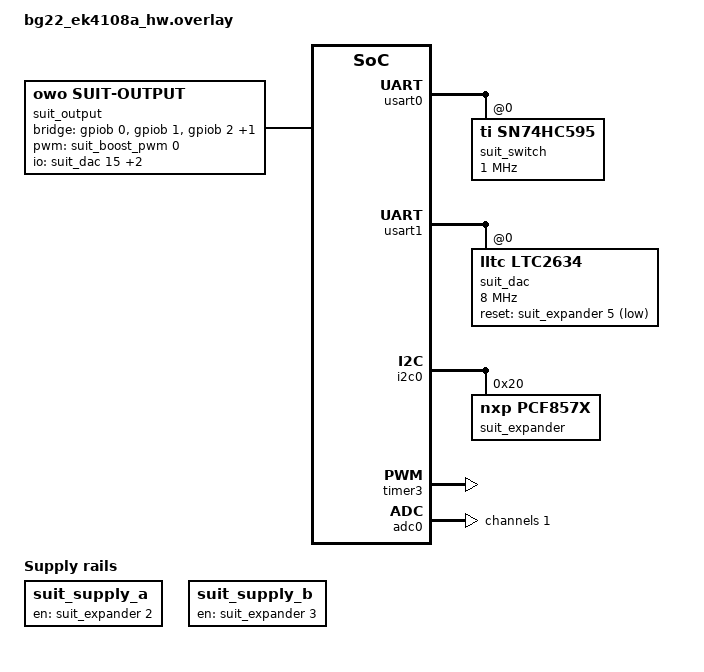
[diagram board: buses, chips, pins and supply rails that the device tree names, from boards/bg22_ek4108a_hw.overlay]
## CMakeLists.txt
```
cmake_minimum_required(VERSION 3.20.0)

# Out-of-tree board definitions (boards/owo/owo_suit: the suit's control unit).
list(APPEND BOARD_ROOT ${CMAKE_CURRENT_LIST_DIR})

# Reusable stimulation-output subsystem (Kconfig + Rust driver crate).
# The EFR32 module provides the open split Bluetooth controller; it replaces
# the board's blob-dependent Silicon Labs HCI driver.
list(APPEND ZEPHYR_EXTRA_MODULES
  ${CMAKE_CURRENT_LIST_DIR}/modules/owo-stim
  ${CMAKE_CURRENT_LIST_DIR}/modules/efr32-radio
)

# `-DOWO_HW=ON` enables the real output stage: devicetree overlay + Kconfig fragment.
# Never set by default; see README ("Bench checklist").
# The board's description of the output stage is boards/<BOARD>_hw.overlay: a custom board only
# needs that file (devicetree nodes for its parts plus one owo,suit-output node), no code changes.
if(OWO_HW)
  set(_hw_overlay ${CMAKE_CURRENT_LIST_DIR}/boards/${BOARD}_hw.overlay)
  if(NOT EXISTS ${_hw_overlay})
    message(FATAL_ERROR "-DOWO_HW=ON needs ${_hw_overlay} describing this board's output stage")
  endif()
  list(APPEND EXTRA_DTC_OVERLAY_FILE ${_hw_overlay})
  list(APPEND EXTRA_CONF_FILE ${CMAKE_CURRENT_LIST_DIR}/owo-suit-hw.conf)
  if(EXISTS ${CMAKE_CURRENT_LIST_DIR}/boards/${BOARD}_hw.conf)
    list(APPEND EXTRA_CONF_FILE ${CMAKE_CURRENT_LIST_DIR}/boards/${BOARD}_hw.conf)
  endif()
endif()

find_package(Zephyr REQUIRED HINTS $ENV{ZEPHYR_BASE})
project(owo_open_fw)

# The OWO product needs link-layer encryption (pairing protects the output stage). Amateur
# operation refuses encryption (47 CFR 97.113(a)(4)), so this firmware never carries it, in any
# configuration (modules/efr32-radio, docs/amateur-radio.md).
if(CONFIG_EFR32_RADIO_AMATEUR)
  message(FATAL_ERROR "CONFIG_EFR32_RADIO_AMATEUR is not allowed in the OWO product firmware")
endif()

# Persistent storage (NVS, ZMS, and the settings subsystem on any backend) needs at least two
# erase pages; the suit's storage partition is one (docs/suit-board.md, "Storage decision").
if(CONFIG_NVS OR CONFIG_ZMS OR CONFIG_SETTINGS)
  dt_nodelabel(_storage NODELABEL storage_partition)
  dt_nodelabel(_flash NODELABEL flash0)
  if(NOT DEFINED _storage OR NOT DEFINED _flash)
    message(FATAL_ERROR "Storage options need a storage_partition on flash0")
  endif()
  dt_reg_size(_storage_size PATH ${_storage})
  dt_prop(_page PATH ${_flash} PROPERTY erase-block-size)
  math(EXPR _pages "${_storage_size} / ${_page}")
  if(_pages LESS 2)
    message(FATAL_ERROR "storage_partition on ${BOARD} is ${_pages} erase page(s) of ${_page} B; "
                        "NVS, ZMS and settings need at least two. See docs/suit-board.md "
                        "(\"Storage decision\") before enabling them.")
  endif()
endif()

rust_cargo_application()

target_sources(app PRIVATE src/serial.c src/feed_job.c)

if(CONFIG_PM)
  target_sources(app PRIVATE src/deep_sleep.c)
endif()

if(CONFIG_OWO_GECKO_APP_PROPERTIES)
  target_sources(app PRIVATE src/gecko_app_properties.c)
endif()

if(CONFIG_OWO_WATCHDOG)
  target_sources(app PRIVATE src/watchdog.c)
endif()

if(CONFIG_CLOCK_EVENT_SCHED_SYNC_CHECK)
  target_sources(app PRIVATE src/clock_sync.c)
endif()

if(CONFIG_OWO_SIM_INJECT)
  message(WARNING "CONFIG_OWO_SIM_INJECT: test-only simulation mailbox; not for hardware")
  target_sources(app PRIVATE src/sim_inject.c)
endif()
```

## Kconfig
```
mainmenu "OWO open firmware (proof of concept)"

config OWO_ADV_INTERVAL_MS
	int "Advertising interval (ms)"
	default 100

config OWO_GECKO_APP_PROPERTIES
	bool "Image descriptor for the Gecko Bootloader"
	default y
	help
	  Put the Silicon Labs ApplicationProperties descriptor in the image and its address in
	  vector slot 13. The Gecko Bootloader and AppLoader in front of the app (0x16000) do not
	  start an image without it (docs/ota.md).

config OWO_GECKO_APP_VERSION
	int "Application version in the image descriptor"
	depends on OWO_GECKO_APP_PROPERTIES
	default 1
	help
	  The stock app carries 1. Kept equal so that neither an update to the open firmware nor
	  a return to stock depends on the bootloader's unknown version policy.

config OWO_SIM_INJECT
	bool "TEST ONLY: command mailbox for the QEMU board simulation"
	help
	  Adds a RAM mailbox (owo_sim_mailbox) that a debugger fills and a 1 ms system work
	  item drains: each entry is handed to the GATT write callback (write_cb) exactly as an
	  ATT write would be after the stack's permission check, or to the disconnect callback.
	  It lets the QEMU board simulation (docs/stim-simulation.md) command stimulation without
	  a Bluetooth connection. Never enable it in a product or hardware build: anything that
	  can write RAM over a debug port could then command output.

config OWO_WATCHDOG
	bool "Short, fixed, locked hardware watchdog (WDOG0)"
	default y
	depends on DT_HAS_SILABS_GECKO_WDOG_ENABLED
	select ZERO_LATENCY_IRQS
	help
	  WDOG0 configured once at boot (src/watchdog.c) and locked: it cannot be stopped or
	  reconfigured afterwards. Fed only by the pump after a supervision pass with the output
	  quiescent (src/wdt.rs); its warning interrupt puts the output stage in its safe state
	  with raw register writes and waits for the reset. docs/watchdog.md.

if OWO_WATCHDOG

config OWO_WATCHDOG_PERSEL
	int "WDOG0 CFG.PERSEL: period of 2^(PERSEL+3)+1 watchdog-clock cycles"
	default 8
	range 0 15
	help
	  Chosen from the longest feed interval measured in QEMU under every workload that can be
	  driven there, with the margin argued in docs/watchdog.md. At 32768 Hz (LFRCO on the
	  suit, LFXO on the kit), 8 is 2049 cycles = 62.53 ms, the stock firmware's value.

config OWO_WATCHDOG_WARNSEL
	int "WDOG0 CFG.WARNSEL: warning at WARNSEL x 25 % of the period"
	default 3
	range 1 3
	help
	  The warning interrupt forces the output safe. Late in the period (75 %) gives the
	  shortest period for a given feed interval, so the reset backstop (for a hang with all
	  interrupts masked) is as short as possible. docs/watchdog.md.

config OWO_WATCHDOG_FREEZE_IN_DEBUG
	bool "Freeze the watchdog while a debugger halts the core (DEBUGRUN = 0)"
	depends on !OWO_STIM_UNVALIDATED_HARDWARE
	help
	  Development builds without a real output stage only. The product keeps the watchdog
	  running in debug halt (DEBUGRUN = 1): a halted core cannot run the warning interrupt, so
	  the reset is the only bound on an output a halt leaves energised.

endif # OWO_WATCHDOG

config OWO_EM2
	bool "Deep sleep (EM2) between radio events and stimulation"
	depends on PM
	depends on !EFR32_RADIO_AMATEUR
	help
	  Let the idle thread enter EM2 whenever nothing needs EM0/EM1: no radio event between its
	  prepare and its end (modules/efr32-radio hal/radio.c), no armed stimulation session and no
	  conversion in flight (src/deep_sleep.c, modules/owo-stim), no clock event closer than the
	  wake-up below (the scheduler clock locks EM2 out while it needs TIMER0), no I2C or UART
	  transfer (their drivers' locks). Without it the product only ever idles in EM1. The
	  amateur identification's radio slot holds no radio reference, so it excludes EM2.
	  docs/radio-tables.md 7.95.

# EM2 exit to a running active clock, what a BURTC wake-up must lead a deadline by
# (docs/radio-tables.md 7.95): the wake-up from EM2 without voltage scaling, 13.22 us (data sheet
# Table 4.10, tEM2_WU); the HFXO start, 5480 FSRCO cycles at 19.804 MHz = 276.71 us, and the
# DPLL lock after it, 11588 HFXO cycles at 38.4 MHz = 301.77 us (7.73, the longest of each), as
# the restore in EMU_EnterEM2() waits for them; the scheduler clock's re-anchor, at most one
# BURTC cycle (30.52 us); and the software from the wake to the active provider's arm. That last
# is the model's [Q]: over 2019 BURTC wake-ups of the product (pairing, GATT and stimulation over
# the link) the compare-to-TIMER0-arm time was at most 666.20 us, less the model's 590.40 us of
# hardware (tEM2_WU, HFXO 5455 cycles, DPLL), 75.80 us, its own re-anchor wait included (so
# counted twice); the model runs the M33's paths up to 35 % short of silicon (7.93), so
# 75.80 / 0.65. Unmeasured on silicon.
OWO_EM2_WAKE_SOFTWARE_NS := 116616
configdefault CLOCK_EVENT_SCHED_DEEP_WAKE_NS
	default $(add,13220,276712,301771,30518,$(OWO_EM2_WAKE_SOFTWARE_NS)) if OWO_EM2

# The system work queue runs only the host's own items in the product: 420 B on silicon (7.86)
# + 36 for an interrupt's basic frame. OWO_SIM_INJECT's 1 ms mailbox item reaches the GATT write
# path from it, 708 B (QEMU, 7.86) + 36.
configdefault SYSTEM_WORKQUEUE_STACK_SIZE
	default 744 if OWO_SIM_INJECT
	default 456

# The controller's RX threads: 408 B and 416 B on silicon (7.86), the largest of every source,
# + 36 each. Ahead of the radio module's own default for the priority thread.
configdefault BT_CTLR_RX_STACK_SIZE
	default 448
configdefault BT_CTLR_RX_PRIO_STACK_SIZE
	default 456

# Module defaults that must precede Zephyr's own (modules/efr32-radio/Kconfig.defaults).
osource "$(ZEPHYR_EFR32_RADIO_MODULE_DIR)/Kconfig.defaults"
source "Kconfig.zephyr"
```

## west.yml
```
# West manifest. `west init -l .` in this directory, then `west update`.
# Only the modules this firmware needs are imported from Zephyr's manifest.
manifest:
  remotes:
    - name: zephyrproject-rtos
      url-base: https://github.com/zephyrproject-rtos
  projects:
    - name: zephyr
      remote: zephyrproject-rtos
      revision: a915b2f12675b48b16d56653ea145dcd8f20cbbf
      import:
        name-allowlist:
          - cmsis_6
          - hal_silabs
          - mbedtls
          - tf-psa-crypto
    - name: zephyr-lang-rust
      remote: zephyrproject-rtos
      revision: 6823b690ed2daf636323cbb8a10447d142752e1f
      path: modules/lang/rust
```

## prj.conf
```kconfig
CONFIG_RUST=y
# The 32 KiB BG22 cannot afford a deferred logger thread beside the combined
# host/controller and safety supervisor. Native QEMU test apps retain their
# own trace transport; hardware faults use the watchdog/reset-safe-off path.
CONFIG_LOG=n
# Measured in build/ram-probe with the full peripheral/MITM/dynamic-GATT
# profile. Stack sentinels and initialized-stack watermarks remain enabled so
# hardware qualification can reject an insufficient budget. The retained map
# is checked with scripts/check-hardware-ram.sh, which holds a 1,760-byte
# reserve below the BG22's 32,760-byte usable RAM region.
# Main: bt_enable and the output supervisor (FP: 108-byte frame); 1420 B peak in the QEMU
# product runs with the 23 fault scenarios (7.86; 1384 B in the paired stimulation run with EM2
# on, 7.96). 1420 + 108.
CONFIG_MAIN_STACK_SIZE=1528
# The controller runs in threads (modules/efr32-radio/hal/ll_threads.c), not on the interrupt
# stack; it peaked at 536 B (QEMU product runs, the watchdog's warning interrupt included; 540 B
# on silicon). Not cut: its worst case is the deepest nesting of interrupt priorities, which no
# run measures.
CONFIG_ISR_STACK_SIZE=1024
CONFIG_STACK_SENTINEL=y
CONFIG_INIT_STACKS=y
CONFIG_STACK_USAGE=y
# Thread stacks: each at least its measured worst-case high-water mark (CONFIG_INIT_STACKS) plus
# one exception frame, rounded up to the 8-byte stack alignment (docs/radio-tables.md 7.86).
# Frame: only the main thread executes FP instructions (the IADC driver's start_read, reached
# only from the output supervisor), so an interrupt pushes the 104-byte extended frame (+4 of
# alignment) only there; every other thread keeps CONTROL.FPCA clear and takes the 32-byte basic
# frame (+4). Peaks: QEMU product runs (owo_suit -DOWO_HW=ON, sim/product-qemu.conf, suit board:
# LE Secure Connections pairing, 870 s of encrypted GATT and stimulation commanded over the link;
# 23 stimulation fault scenarios) and silicon held encrypted connections of the radio-port
# pairing profile with the laptop (7.84, 7.86), the largest of all sources.
#
# The long work queue runs only the host's P-256 key generation and DH key (GATT caching is
# off); its deepest point is p256-m's field multiply in both images: 732 B in the product (QEMU,
# every pairing), 968 B in the radio-port image on silicon, whose LTO inlining differs. 968 + 36.
CONFIG_BT_LONG_WQ_STACK_SIZE=1008
# Link-layer threads, silicon peaks of held encrypted connections (7.84; the QEMU product run's
# are lower: ULL 532, LLL 656, completion 604). ULL 648 + 36 = 684, LLL 748 + 36; the
# completion job's 768 covers 664 + 36.
CONFIG_EFR32_RADIO_ULL_STACK_SIZE=688
CONFIG_EFR32_RADIO_LLL_STACK_SIZE=784
# Radio launch jobs: TX 440 B (silicon, encrypted, 7.86; 7.84: 428) + 36, RX 444 B (QEMU
# product with the EM2 wake-up budget, 7.95: the receive window's timeout then waits on TIMER0,
# a deeper path; 372 without it, silicon 368) + 36.
CONFIG_EFR32_RADIO_TX_LAUNCH_STACK_SIZE=480
CONFIG_EFR32_RADIO_RX_LAUNCH_STACK_SIZE=480
# Kernel and host threads, by the same rule (7.86, 7.96): idle 348 (QEMU; 332 with EM2 entry
# and exit) + 36; BT RX 1096 (QEMU, paired stimulation with EM2 on) + 36; BT TX processor 432
# (silicon) + 36. The system work queue and the controller RX threads (hidden symbols) are set in
# the root Kconfig.
CONFIG_IDLE_STACK_SIZE=384
CONFIG_BT_RX_STACK_SIZE=1136
CONFIG_BT_TX_PROCESSOR_STACK_SIZE=472
# Word-wise memset/memcpy (+96 B flash). The external output parts keep their state across an MCU
# reset until the first init level re-asserts the safe levels (owo_suit_early_safe_off); the
# byte-wise routines made the C runtime's .bss/.data initialisation before that take 6.2 ms in
# the QEMU model (4.44 ms .bss, 1.79 ms .data), the word-wise ones 1.7 ms: with the stock
# bootloader's 2.6 ms, the boost supply is off 4.65 ms after a reset instead of 9.63 ms
# (docs/stim-simulation.md).
CONFIG_MINIMAL_LIBC_OPTIMIZE_STRING_FOR_SIZE=n

CONFIG_BT=y
CONFIG_BT_PERIPHERAL=y
# "OWO" and the twelve-digit serial, set at start-up (src/ble.rs); the Kconfig name is replaced.
CONFIG_BT_DEVICE_NAME="OWO"
CONFIG_BT_DEVICE_NAME_DYNAMIC=y
CONFIG_BT_DEVICE_NAME_MAX=15
CONFIG_BT_SMP=y
# Allowed pairing, stated in full rather than left to Zephyr's defaults: LE Secure
# Connections passkey entry with the unit's fixed passkey (src/ble.rs app_passkey) only,
# reaching security level 4. No legacy pairing, no Just Works, no OOB, no re-pairing of a
# bonded peer without authentication, full-length keys.
CONFIG_BT_SMP_SC_ONLY=y
CONFIG_BT_SMP_SC_PAIR_ONLY=y
CONFIG_BT_SMP_ENFORCE_MITM=y
CONFIG_BT_APP_PASSKEY=y
CONFIG_BT_SMP_OOB_LEGACY_PAIR_ONLY=n
CONFIG_BT_SMP_ALLOW_UNAUTH_OVERWRITE=n
CONFIG_BT_SMP_APP_PAIRING_ACCEPT=n
CONFIG_BT_PASSKEY_KEYPRESS=n
CONFIG_BT_SMP_MIN_ENC_KEY_SIZE=16
CONFIG_BT_BONDABLE=y
CONFIG_BT_SETTINGS=n
CONFIG_BT_MAX_CONN=1
# One connection and the product's short control writes do not require the
# generic multi-connection queue depths. These are Zephyr's legal minima:
# L2CAP itself requires two TX buffers and HCI requires two event buffers.
CONFIG_BT_BUF_EVT_RX_COUNT=2
CONFIG_BT_BUF_EVT_DISCARDABLE_COUNT=1
CONFIG_BT_BUF_ACL_TX_COUNT=1
CONFIG_BT_L2CAP_TX_BUF_COUNT=2
CONFIG_BT_L2CAP_TX_FRAG_COUNT=1
CONFIG_BT_ATT_TX_COUNT=1
# The GATT table is built at run time from Rust
CONFIG_BT_GATT_DYNAMIC_DB=y
CONFIG_BT_DIS=y
CONFIG_BT_DIS_MANUF_NAME=y
CONFIG_BT_DIS_MANUF_NAME_STR="OWO"
CONFIG_BT_BAS=y

# Tickless: no periodic kernel tick while idle
CONFIG_TICKLESS_KERNEL=y

# System time, kernel timeouts and radio wake-ups come from the scheduler clock: BURTC
# across deep sleep, TIMER0 (EM01GRPACLK) while the CPU runs (boards/*.overlay). Its
# 64-bit cycle count also backs the timing API used for output-stage timestamps.
CONFIG_CLOCK_EVENT_SYSTEM_TIMER=y
CONFIG_SILABS_BURTC_CLOCK_EVENT=y
CONFIG_COUNTER_SILABS_BURTC=n
CONFIG_COUNTER=y
CONFIG_COUNTER_SILABS_TIMER_CLOCK_EVENT=y
# The RTCC Counter driver is unused and does not build for this SoC.
CONFIG_COUNTER_GECKO_STIMER=n
CONFIG_TIMING_SYS_CLOCK=y
# Jobs: admitted timed and armed jobs (the watchdog feed: src/feed_job.c), timed kernel
# calls attributed to the running job (docs/zephyr-dual-clock-scheduler.md). No time slicing.
CONFIG_SCHED_DEADLINE_ADMISSION=y
CONFIG_SCHED_DEADLINE_JOBS=y
CONFIG_TIMESLICING=n
# Scheduler clock clients: kernel timeouts, the radio's three (hal/cntr.c), one per timed job
# (the watchdog feed, CONFIG_SCHED_DEADLINE_TIMED_JOBS) and the clock's own two self-checks.
CONFIG_CLOCK_EVENT_SCHED_CLIENTS=7
# The scheduler clock checks its providers against each other; a failure is the safe shutdown
# of src/clock_sync.c (docs/zephyr-dual-clock-scheduler.md, "Clock sync").
CONFIG_CLOCK_EVENT_SCHED_SYNC_CHECK=y
# Power manager (EM1/EM2 sleep); the scheduler clock locks out EM2+ only while it
# needs TIMER0 for a pending deadline.
CONFIG_PM=y
# EM2 between radio events and stimulation sessions (Kconfig, docs/radio-tables.md 7.95).
CONFIG_OWO_EM2=y

# Hardware watchdog: WDOG0 owned by src/watchdog.c (CONFIG_OWO_WATCHDOG, on by default), fed
# by the pump (src/wdt.rs); Zephyr's watchdog driver is not used (docs/watchdog.md).

# Output stage. Off = log-only dry run. See modules/owo-stim/Kconfig.
CONFIG_OWO_STIM=y
# CONFIG_OWO_STIM_UNVALIDATED_HARDWARE is NOT set: no output until you opt in (bench only).
# The lower link layer runs in meta-IRQ threads, not interrupts (modules/efr32-radio/hal/ll_threads.c):
# the LLL and radio jobs at the first priority, the ULL worker at the second.
CONFIG_NUM_METAIRQ_PRIORITIES=2
# BT_CTLR_ZLI is only settable with the controller's advanced options visible.
CONFIG_BT_CTLR_ADVANCED_FEATURES=y
CONFIG_BT_CTLR_ZLI=n
# Drive the radio registers (the module default is a register-free stub whose HAL asserts at the
# first data channel, EFR32_RADIO_AIR_TODO in hal/radio.c, so a product could advertise but never
# hold a connection). Hardware and QEMU builds alike; QEMU-only timing stays in
# sim/product-qemu.conf.
CONFIG_EFR32_RADIO_STUB_REGISTERS=n

# Flash/RAM budget (measured 2026-10-31 against the full default build, 192.7 KB flash;
# together 143.2 KB). Link-time optimisation: -25.9 KB.
CONFIG_LTO=y
CONFIG_ISR_TABLES_LOCAL_DECLARATION=y
# No console on the suit: printk, the boot banner and the complete printf engine go
# (-17.4 KB). Missed-deadline and safe-shutdown reports are then not printed.
CONFIG_PRINTK=n
CONFIG_BOOT_BANNER=n
CONFIG_CBPRINTF_NANO=y
# One connection and no stored bonds: no controller address resolution or filter accept
# list is needed (-5.4 KB).
CONFIG_BT_CTLR_PRIVACY=n
CONFIG_BT_CTLR_FILTER_ACCEPT_LIST=n
# A fault resets the unit; the register dump has nowhere to go (-2.3 KB).
CONFIG_EXCEPTION_DEBUG=n
CONFIG_FAULT_DUMP=0
# Clients rediscover the small GATT table on each connection (-2.0 KB).
CONFIG_BT_GATT_CACHING=n
# No vendor-specific HCI commands are used (-0.8 KB).
CONFIG_BT_HCI_VS=n
# AES runs on the RADIOAES accelerator (modules/efr32-radio/crypto, docs/crypto.md): the
# controller's session-key ECB and link-layer CCM call it directly, the host's AES-ECB
# (bt_encrypt_le) and AES-CMAC (SMP f4/f5/f6/g2/h6) reach it through PSA Crypto's driver
# dispatch. No software AES is built and nothing allocates: no mbedtls heap, libc arena 0.
# P-256 stays in software (p256-m): the accelerator's public-key engine is not publicly
# documented.
#
# PSA key slots (104 B each). The PSA users left import or generate one key, use it and destroy
# it before returning, never nesting: host ECC (generate_pub_key, generate_dh_key,
# bt_pub_key_is_valid) on the BT long work queue and SMP's AES-CMAC (bt_crypto_psa.c) and
# bt_encrypt_le on the BT RX thread or the long work queue (f5/f6 in the DHKey callback). So at
# most one key per thread, two threads: two slots. Measured in QEMU with a slot counter in
# tf-psa-crypto (2026-10-31, owo_suit with sim/product-qemu.conf, bt_enable, LE Secure
# Connections passkey pairing and 150 s of encrypted GATT): one live slot at most. Exhaustion
# fails the import, it does not corrupt memory: a failed pairing (-208 B against four slots).
CONFIG_MBEDTLS_PSA_KEY_SLOT_COUNT=2
```

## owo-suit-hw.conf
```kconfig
# Applied by -DOWO_HW=ON. Drives the real output stage. UNVALIDATED on hardware.
CONFIG_OWO_STIM_UNVALIDATED_HARDWARE=y
CONFIG_GPIO=y
CONFIG_I2C=y
# Expander transfers end within this, also with the bus dead (SDA held low, no acknowledge). With
# the bus dead a pump pass makes at most 22: 6 per faulted pulse (supplies on, off again after the
# failure, off on the fault, 2 each) for up to CONFIG_OWO_STIM_FAULT_LOCKOUT = 3 pulses, the
# stop-input read, the idle safe-off (2) and one from the system work queue waited out first.
# 22 x 1 ms stays inside the 22.4 ms between the longest legitimate feed interval and the
# watchdog warning (docs/watchdog.md). The longest transfer, 3 bytes, is 29 bit times (0.29 ms)
# at 100 kHz.
CONFIG_I2C_SILABS_TIMEOUT=1
CONFIG_SPI=y
CONFIG_PWM=y
CONFIG_ADC=y
CONFIG_DAC=y
CONFIG_PINCTRL=y
CONFIG_REGULATOR=y
# The output stage reads two IADC channels, the sense input (channel 0) and the battery divider
# (channel 1) in boards/*_hw.overlay; modules/owo-stim/shim/owo_shim.c asserts they fit. The
# driver's other 14 channel entries would be 112 B of RAM.
CONFIG_ADC_SILABS_IADC_CHANNELS=2
```

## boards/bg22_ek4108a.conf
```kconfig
# Silicon Labs OTA: the boot-mode request is Zephyr's retention API (boards/owo_product.dtsi).
CONFIG_RETAINED_MEM=y
CONFIG_RETENTION=y
CONFIG_RETENTION_BOOT_MODE=y
CONFIG_REBOOT=y
# Link into the code partition of the overlay (0x16000, behind the Gecko Bootloader)
CONFIG_USE_DT_CODE_PARTITION=y
```

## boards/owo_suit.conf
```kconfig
# Silicon Labs OTA: the boot-mode request is Zephyr's retention API (boards/owo_product.dtsi).
CONFIG_RETAINED_MEM=y
CONFIG_RETENTION=y
CONFIG_RETENTION_BOOT_MODE=y
CONFIG_REBOOT=y
# Link into the board's code partition (0x16000, behind the Gecko Bootloader and AppLoader)
CONFIG_USE_DT_CODE_PARTITION=y
```

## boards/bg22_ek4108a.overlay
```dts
/*
 * The stand-in explorer kit. Board-level facts that make the Silicon Labs OTA update keep working
 * with this firmware (docs/ota.md): here the flash map the suit's bootloader expects; the RAM word
 * the bootloader reads, and the rest of what the product needs, are in owo_product.dtsi.
 */
#include "owo_product.dtsi"

/*
 * Flash map. The stock images (GBL, ERASEPROG tag) are written at 0x16000, after the
 * Silicon Labs first/second-stage bootloaders (docs: owo-suit-firmware-analysis.md section 1).
 * The explorer kit's own map (MCUboot at 0x0, slot0 at 0xC000) is replaced by that layout.
 */
&flash0 {
	partitions {
		/delete-node/ partition@0;
		/delete-node/ partition@c000;
		/delete-node/ partition@44000;

		/* Gecko Bootloader (first + second stage), not ours to touch. */
		boot_partition: partition@0 {
			compatible = "zephyr,mapped-partition";
			reg = <0x00000000 DT_SIZE_K(88)>;
			label = "gecko-bootloader";
			read-only;
		};

		/* The application: where the stock GBL puts it, up to the storage partition. */
		slot0_partition: partition@16000 {
			compatible = "zephyr,mapped-partition";
			reg = <0x00016000 DT_SIZE_K(408)>;
			label = "image-0";
		};
	};
};

/* The kit's TIMER0 PWM (LED) gives way to the scheduler clock (owo_product.dtsi). */
&timer0_pwm {
	status = "disabled";
};

/*
 * The kit LED (PA4) moves to the 16-bit TIMER1, CC0. Divided by 32 from EM01GRPACLK
 * (76.8 MHz), it keeps the kit's 20 ms period within 16 bits.
 */
&pinctrl {
	kit_led_pwm: kit_led_pwm {
		group0 {
			pins = <TIMER1_CC0_PA4>;
			drive-push-pull;
			output-high;
		};
	};
};

&timer1 {
	status = "okay";
	clock-div = <32>;

	timer1_pwm: pwm {
		status = "okay";
		pinctrl-0 = <&kit_led_pwm>;
		pinctrl-names = "default";
	};
};

&pwm_led0 {
	pwms = <&timer1_pwm 0 PWM_MSEC(20) PWM_POLARITY_NORMAL>;
};
```

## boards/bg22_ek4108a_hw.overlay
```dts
/*
 * The OWO suit's output stage, expressed as Zephyr devicetree on the stand-in EFR32BG22
 * explorer kit. Pins, buses and addresses come from reverse engineering firmware 7.9.07
 * (docs/stock-stim-path.md); nothing here is confirmed on hardware, and the suit's real
 * board needs its own board definition (clocks, DCDC, flash layout) which this is not.
 */
#include <zephyr/dt-bindings/gpio/gpio.h>
#include <zephyr/dt-bindings/pwm/pwm.h>
#include <zephyr/dt-bindings/adc/adc.h>
#include <zephyr/dt-bindings/adc/silabs-adc.h>
#include <zephyr/dt-bindings/spi/spi.h>
#include <zephyr/dt-bindings/pinctrl/silabs/xg22-pinctrl.h>

&pinctrl {
	suit_sw_spi: suit_sw_spi {
		group0 {
			pins = <USART0_TX_PC0>, <USART0_CLK_PC2>;
			drive-push-pull;
			output-low;
		};
		group1 {
			pins = <USART0_RX_PC1>;
			input-enable;
			silabs,input-filter;
		};
	};

	suit_dac_spi: suit_dac_spi {
		group0 {
			pins = <USART1_TX_PA0>, <USART1_CLK_PA8>;
			drive-push-pull;
			output-low;
		};
		group1 {
			pins = <USART1_RX_PA4>;
			input-enable;
			silabs,input-filter;
		};
	};

	suit_i2c: suit_i2c {
		group0 {
			pins = <I2C0_SCL_PA7>, <I2C0_SDA_PB4>;
			bias-pull-up;
			drive-open-drain;
		};
	};

	suit_boost: suit_boost {
		group0 {
			pins = <TIMER3_CC0_PC7>;
			drive-push-pull;
			output-low;
		};
	};

	suit_sense: suit_sense {
		group0 {
			/* PD2 (sense) on the CD even bus, PD3 (battery) on the CD odd bus. */
			silabs,analog-bus = <ABUS_CDEVEN0_IADC0>, <ABUS_CDODD0_IADC0>;
		};
	};
};

/*
 * Channel switch: a 32-bit shift-register chain as a stock GPIO controller. The chip select is the
 * chain's latch (PC3, idle high = latched), which is exactly how ti,sn74hc595 uses it. The
 * chain's output is wired back to MISO, so the driver verifies each write by read-back.
 */
&usart0 {
	compatible = "silabs,usart-spi";
	pinctrl-0 = <&suit_sw_spi>;
	pinctrl-names = "default";
	#address-cells = <1>;
	#size-cells = <0>;
	cs-gpios = <&gpioc 3 GPIO_ACTIVE_LOW>;
	status = "okay";

	suit_switch: switch@0 {
		compatible = "ti,sn74hc595";
		reg = <0>;
		spi-max-frequency = <1000000>;
		gpio-controller;
		#gpio-cells = <2>;
		ngpios = <32>;
		verify-readback;
	};
};

/* Amplitude DAC: USART1 as SPI mode 0, CS = PA5, /CLR on the expander. */
&usart1 {
	compatible = "silabs,usart-spi";
	pinctrl-0 = <&suit_dac_spi>;
	pinctrl-names = "default";
	#address-cells = <1>;
	#size-cells = <0>;
	cs-gpios = <&gpioa 5 GPIO_ACTIVE_LOW>;
	status = "okay";

	suit_dac: dac@0 {
		compatible = "lltc,ltc2634";
		reg = <0>;
		spi-max-frequency = <8000000>;
		#io-channel-cells = <1>;
		reset-gpios = <&suit_expander 5 GPIO_ACTIVE_LOW>;
	};
};

/* PCF8575-class expander (8-bit write address 0x40 => 7-bit 0x20). */
&i2c0 {
	pinctrl-0 = <&suit_i2c>;
	pinctrl-names = "default";
	status = "okay";

	suit_expander: gpio@20 {
		compatible = "nxp,pcf857x";
		reg = <0x20>;
		gpio-controller;
		#gpio-cells = <2>;
		ngpios = <16>;
	};
};

/*
 * Boost converter PWM on the 16-bit TIMER3: of the TIMERs left free by the scheduler clock
 * (TIMER0) and the kit LED (TIMER1), only TIMER3 routes to port C (xg22-pinctrl.h).
 */
&timer3 {
	status = "okay";

	suit_boost_pwm: pwm {
		status = "okay";
		pinctrl-0 = <&suit_boost>;
		pinctrl-names = "default";
	};
};

&adc0 {
	pinctrl-0 = <&suit_sense>;
	pinctrl-names = "default";
	#address-cells = <1>;
	#size-cells = <0>;
	status = "okay";

	/* The explorer kit already has channel@0 (PB0); point it at the suit's sense input PD2.
	 * Gain 1, VDD reference (3.3 V), 12 bit, like the stock firmware. */
	channel@0 {
		zephyr,input-positive = <IADC_INPUT_PD2>;
	};

	/* The suit's battery divider on PD3, as boards/owo_suit_hw.overlay. */
	channel@1 {
		reg = <1>;
		zephyr,acquisition-time = <ADC_ACQ_TIME_DEFAULT>;
		zephyr,gain = "ADC_GAIN_1_2";
		zephyr,input-positive = <IADC_INPUT_PD3>;
		zephyr,reference = "ADC_REF_INTERNAL";
		zephyr,resolution = <12>;
		zephyr,vref-mv = <1210>;
	};
};

/* Supply enables behind the expander (P2, P3): plain regulators. */
/ {
	suit_supply_a: suit-supply-a {
		compatible = "regulator-fixed";
		regulator-name = "suit-supply-a";
		enable-gpios = <&suit_expander 2 GPIO_ACTIVE_HIGH>;
	};

	suit_supply_b: suit-supply-b {
		compatible = "regulator-fixed";
		regulator-name = "suit-supply-b";
		enable-gpios = <&suit_expander 3 GPIO_ACTIVE_HIGH>;
	};

	suit_output: suit-output {
		compatible = "owo,suit-output";
		/* PB0..PB3: high side A, high side B, low side A, low side B */
		bridge-gpios = <&gpiob 0 GPIO_ACTIVE_HIGH>, <&gpiob 1 GPIO_ACTIVE_HIGH>,
			       <&gpiob 2 GPIO_ACTIVE_HIGH>, <&gpiob 3 GPIO_ACTIVE_HIGH>;
		supplies = <&suit_supply_a>, <&suit_supply_b>;
		switch = <&suit_switch>;
		/* One word per protocol channel 0..10, in the stock slot order (owo_suit_hw.overlay). */
		switch-routes = <0x00800080 0x01000100 0x00020002 0x00080008 0x00100010 0x00400040
				 0x00010001 0x00200020 0x00040004 0x02000200 0x04000400>;
		pwms = <&suit_boost_pwm 0 PWM_HZ(4000) PWM_POLARITY_NORMAL>;
		boost-duty-percent = <50>;
		io-channels = <&suit_dac 15>, <&adc0 0>, <&adc0 1>;
		io-channel-names = "amplitude", "sense", "battery";
		battery-divider = <133 33>;
		amplitude-resolution = <12>;
		amplitude-scale = <0x12FED 0x9C4>;
		max-level = <126>;
		sense-uv-per-level = <19150>;
		sense-offset = <3>;
	};
};
```

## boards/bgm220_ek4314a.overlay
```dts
/*
 * The BGM220 explorer kit (BRD4314A): the BRD4108A kit's layout with the BGM220P module, so the
 * same product overlay.
 */
#include "bg22_ek4108a.overlay"
```

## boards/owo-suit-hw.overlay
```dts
/*
 * The OWO suit's output stage, expressed as Zephyr devicetree on the stand-in EFR32BG22
 * explorer kit. Pins, buses and addresses come from reverse engineering firmware 7.9.07
 * (docs/stock-stim-path.md); nothing here is confirmed on hardware, and the suit's real
 * board needs its own board definition (clocks, DCDC, flash layout) which this is not.
 */
#include <zephyr/dt-bindings/gpio/gpio.h>
#include <zephyr/dt-bindings/pwm/pwm.h>
#include <zephyr/dt-bindings/adc/adc.h>
#include <zephyr/dt-bindings/adc/silabs-adc.h>
#include <zephyr/dt-bindings/spi/spi.h>
#include <zephyr/dt-bindings/pinctrl/silabs/xg22-pinctrl.h>

&pinctrl {
	suit_sw_spi: suit_sw_spi {
		group0 {
			pins = <USART0_TX_PC0>, <USART0_CLK_PC2>;
			drive-push-pull;
			output-low;
		};
		group1 {
			pins = <USART0_RX_PC1>;
			input-enable;
			silabs,input-filter;
		};
	};

	suit_dac_spi: suit_dac_spi {
		group0 {
			pins = <USART1_TX_PA0>, <USART1_CLK_PA8>;
			drive-push-pull;
			output-low;
		};
		group1 {
			pins = <USART1_RX_PA4>;
			input-enable;
			silabs,input-filter;
		};
	};

	suit_i2c: suit_i2c {
		group0 {
			pins = <I2C0_SCL_PA7>, <I2C0_SDA_PB4>;
			bias-pull-up;
			drive-open-drain;
		};
	};

	suit_boost: suit_boost {
		group0 {
			pins = <TIMER1_CC0_PC7>;
			drive-push-pull;
			output-low;
		};
	};

	suit_sense: suit_sense {
		group0 {
			silabs,analog-bus = <ABUS_BODD0_IADC0>;
		};
	};
};

/* Channel switch: USART0 as SPI mode 0, no chip select (the latch is a GPIO below). */
&usart0 {
	compatible = "silabs,usart-spi";
	pinctrl-0 = <&suit_sw_spi>;
	pinctrl-names = "default";
	#address-cells = <1>;
	#size-cells = <0>;
	status = "okay";

	suit_switch: switch@0 {
		compatible = "owo,switch-chain";
		reg = <0>;
		spi-max-frequency = <1000000>;
	};
};

/* Amplitude DAC: USART1 as SPI mode 0, CS = PA5, /CLR on the expander. */
&usart1 {
	compatible = "silabs,usart-spi";
	pinctrl-0 = <&suit_dac_spi>;
	pinctrl-names = "default";
	#address-cells = <1>;
	#size-cells = <0>;
	cs-gpios = <&gpioa 5 GPIO_ACTIVE_LOW>;
	status = "okay";

	suit_dac: dac@0 {
		compatible = "lltc,ltc2634";
		reg = <0>;
		spi-max-frequency = <8000000>;
		#io-channel-cells = <1>;
		reset-gpios = <&suit_expander 5 GPIO_ACTIVE_LOW>;
	};
};

/* PCF8575-class expander (8-bit write address 0x40 => 7-bit 0x20). */
&i2c0 {
	pinctrl-0 = <&suit_i2c>;
	pinctrl-names = "default";
	status = "okay";

	suit_expander: gpio@20 {
		compatible = "nxp,pcf857x";
		reg = <0x20>;
		gpio-controller;
		#gpio-cells = <2>;
		ngpios = <16>;
	};
};

&timer1 {
	status = "okay";

	suit_boost_pwm: pwm {
		status = "okay";
		pinctrl-0 = <&suit_boost>;
		pinctrl-names = "default";
	};
};

&adc0 {
	pinctrl-0 = <&suit_sense>;
	pinctrl-names = "default";
	#address-cells = <1>;
	#size-cells = <0>;
	status = "okay";

	/* The explorer kit already has channel@0 (PB0); point it at the suit's PD3. */
	channel@0 {
		zephyr,input-positive = <IADC_INPUT_PD3>;
	};
};

/ {
	suit_output: suit-output {
		compatible = "owo,suit-output";
		/* PB0..PB3: high side A, high side B, low side A, low side B */
		bridge-gpios = <&gpiob 0 GPIO_ACTIVE_HIGH>, <&gpiob 1 GPIO_ACTIVE_HIGH>,
			       <&gpiob 2 GPIO_ACTIVE_HIGH>, <&gpiob 3 GPIO_ACTIVE_HIGH>;
		latch-gpios = <&gpioc 3 GPIO_ACTIVE_HIGH>;
		/* Expander P2, P3 */
		supply-gpios = <&suit_expander 2 GPIO_ACTIVE_HIGH>, <&suit_expander 3 GPIO_ACTIVE_HIGH>;
		switch = <&suit_switch>;
		dac = <&suit_dac>;
		pwms = <&suit_boost_pwm 0 PWM_HZ(4000) PWM_POLARITY_NORMAL>;
		io-channels = <&adc0 0>;
	};
};
```

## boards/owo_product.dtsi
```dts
/*
 * What the product needs from any EFR32BG22 board it runs on, included by each board's overlay
 * (boards/<board>.overlay). Nothing here is code: the Silicon Labs OTA hand-over word in RAM
 * (docs/ota.md), the open Bluetooth controller, the scheduler clock and the watchdog.
 */

/*
 * Hardware watchdog: configured once at boot and locked by src/watchdog.c (raw registers, not
 * Zephyr's driver), clocked by the devicetree's WDOG0 branch; fed by the pump (src/wdt.rs).
 * docs/watchdog.md.
 */
&wdog0 {
	status = "okay";
};

/*
 * Use Zephyr's standard split-controller HCI device with the open EFR32
 * lower layer, not the board's Silicon Labs blob controller.  The vendor HCI
 * node would otherwise remain chosen without a linked driver.
 */
&bt_hci_silabs {
	status = "disabled";
};

&radio {
	bt_hci_efr32: bt_hci_efr32 {
		compatible = "zephyr,bt-hci-ll-sw-split";
		status = "okay";
	};
};

/* Scheduler clock providers: BURTC across deep sleep, TIMER0 (EM01GRPACLK) while running. */
&burtc0 {
	status = "okay";
};

/* TIMER0, the only 32-bit TIMER, belongs to the scheduler clock. */
&timer0 {
	status = "okay";

	counter {
		status = "okay";
	};
};

/* RAM for Zephyr starts after the hand-over word. */
&sram0 {
	reg = <0x20000008 (DT_SIZE_K(32) - 8)>;
};

/*
 * "Reboot into the bootloader" request. The stock app asks for its OTA by a software reset
 * with the first RAM word set to 2 (the Bluetooth stack's "boot to DFU" reset); the suit's
 * AppLoader stays in OTA mode only after a SYSRESETREQ reset with exactly that word, and the
 * bootloader honours the word only after SYSRESETREQ as well. The Gecko SDK's
 * bootloader_rebootAndInstall() form (reason 0x0202, signature 0xF00F) does not reach the
 * AppLoader on this bootloader (docs/ota.md, docs/radio-tables.md SS7.78; QEMU with the unit's
 * own bootloader and AppLoader, not yet confirmed on silicon). Zephyr's boot-mode retention
 * writes its prefix and then one mode byte, so the prefix is that word (little endian).
 */
/ {
	btl_request: retained@20000000 {
		compatible = "zephyr,memory-region", "mmio-sram";
		reg = <0x20000000 8>;
		zephyr,memory-region = "RetainedMem";

		retainedmem {
			compatible = "zephyr,retained-ram";
			#address-cells = <1>;
			#size-cells = <1>;

			boot_mode0: retention@0 {
				compatible = "zephyr,retention";
				reg = <0x0 8>;
				prefix = [02 00 00 00];
			};
		};
	};

	chosen {
		zephyr,boot-mode = &boot_mode0;
		zephyr,bt-hci = &bt_hci_efr32;
	};

	aliases {
		watchdog0 = &wdog0;
	};
};
```

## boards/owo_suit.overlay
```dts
/*
 * The suit control unit (board in boards/owo/owo_suit). Its flash map, with the partition the
 * product links into, is part of the board; the product adds only what every board gets.
 */
#include "owo_product.dtsi"
```

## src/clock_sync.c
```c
/*
 * The scheduler clock failed a self-check (CONFIG_CLOCK_EVENT_SCHED_SYNC_CHECK,
 * docs/zephyr-dual-clock-scheduler.md "Clock sync"): every timing guarantee is void, so this
 * does not go through the miss policy. The output stage goes to its safe state with raw register
 * writes, which depend on no clock, then the part waits for the watchdog's reset: nothing feeds
 * it again. WDOG0 runs from its own low-frequency oscillator; on the suit that is the LFRCO,
 * which also clocks the BURTC, so a stopped LFRCO stops the reset too and the part then stays
 * here, with the output safe.
 *
 * SPDX-License-Identifier: Apache-2.0
 */

#include <zephyr/kernel.h>
#include <zephyr/kernel/deadline_miss.h>

extern void owo_suit_force_safe_from_isr(void);

void k_clock_sync_fault_handler(const struct k_deadline_miss *miss)
{
	ARG_UNUSED(miss);
	(void)arch_irq_lock();
	owo_suit_force_safe_from_isr();
	for (;;) {
		/* Wait for the watchdog reset. */
	}
}
```

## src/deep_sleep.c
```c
/*
 * Deep sleep (EM2) for the product (CONFIG_OWO_EM2, docs/radio-tables.md 7.95).
 *
 * Without CONFIG_OWO_EM2 EM2 is locked out from boot: the idle thread then only enters EM1. With
 * it, what must not sleep in EM2 says so: the radio while an event is in progress
 * (modules/efr32-radio hal/radio.c), the scheduler clock while a deadline needs TIMER0, the I2C
 * and UART drivers during a transfer, and the application while a stimulation session is armed
 * (owo_deep_sleep_inhibit(), src/lib.rs): EM2 stops TIMER1 (the boost PWM), the USARTs (the DAC
 * and switch SPI) and the IADC's high-frequency clock, and the supervisor must keep its 10 ms
 * cadence (docs/watchdog.md).
 *
 * SPDX-License-Identifier: Apache-2.0
 */
#include <stdbool.h>
#include <zephyr/init.h>
#include <zephyr/pm/policy.h>

void owo_deep_sleep_inhibit(bool inhibit)
{
	if (inhibit) {
		pm_policy_state_lock_get(PM_STATE_SUSPEND_TO_IDLE, PM_ALL_SUBSTATES);
		pm_policy_state_lock_get(PM_STATE_STANDBY, PM_ALL_SUBSTATES);
	} else {
		pm_policy_state_lock_put(PM_STATE_SUSPEND_TO_IDLE, PM_ALL_SUBSTATES);
		pm_policy_state_lock_put(PM_STATE_STANDBY, PM_ALL_SUBSTATES);
	}
}

#if !defined(CONFIG_OWO_EM2)
static int owo_deep_sleep_off(void)
{
	owo_deep_sleep_inhibit(true);
	return 0;
}

SYS_INIT(owo_deep_sleep_off, PRE_KERNEL_1, 0);
#endif
```

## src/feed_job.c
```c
/*
 * The watchdog feed job (docs/zephyr-dual-clock-scheduler.md, "The product's jobs"): a periodic
 * job of its own, non-pausable. Every period it feeds WDOG0 if the feed condition holds
 * (src/wdt.rs, which derives its declaration).
 *
 * SPDX-License-Identifier: Apache-2.0
 */

#include <stdbool.h>
#include <zephyr/kernel.h>

/*
 * Cooperative, the highest priority under the radio's meta-IRQ levels: above the Bluetooth
 * receive threads (cooperative -10 and -8) and the output supervisor, so that no Bluetooth or
 * supervision work is ahead of the containment once it is released (default, pending user
 * confirmation). It can still wait for a cooperative thread already running at its release.
 */
#define FEED_PRIORITY K_PRIO_COOP(CONFIG_NUM_METAIRQ_PRIORITIES + 1)
/*
 * docs/radio-tables.md 7.86's rule: the high-water mark, 376 B (suit board model, stimulating,
 * a withheld feed included; no FP), plus the 36 B basic interrupt frame, rounded to 8.
 */
#define FEED_STACK_SIZE 416

static K_DEADLINE_EVENT_DEFINE(owo_feed_event);
static struct k_deadline_reservation feed_reservation;
static K_SEM_DEFINE(feed_declared, 0, 1);
/* Longest release-to-start seen, cycles, for reading over a debugger. */
__used uint32_t owo_feed_start_max_cyc;

/* src/wdt.rs: one feed pass; false when the feed was withheld. */
extern bool owo_feed_pass(void);

int owo_feed_job_start(uint32_t period_us, uint32_t deadline_us, uint32_t budget_us)
{
	feed_reservation = (struct k_deadline_reservation){
		.budget = k_us_to_cyc_ceil32(budget_us),
		.min_interarrival = k_us_to_cyc_floor32(period_us),
		.deadline = k_us_to_cyc_floor32(deadline_us),
		.non_pausable = true,
	};
	k_sem_give(&feed_declared);
	return 0;
}

int owo_feed_job_change(uint32_t period_us, uint32_t deadline_us, uint32_t budget_us)
{
	struct k_deadline_reservation next = {
		.budget = k_us_to_cyc_ceil32(budget_us),
		.min_interarrival = k_us_to_cyc_floor32(period_us),
		.deadline = k_us_to_cyc_floor32(deadline_us),
		.non_pausable = true,
	};

	return k_deadline_event_change(&owo_feed_event, &next);
}

static void feed_job(void *a, void *b, void *c)
{
	ARG_UNUSED(a);
	ARG_UNUSED(b);
	ARG_UNUSED(c);

	k_sem_take(&feed_declared, K_FOREVER);
	/* A refusal is reported (the miss policy); without the job WDOG0 is the containment. */
	if (k_deadline_event_arm_periodic(&owo_feed_event, &feed_reservation,
					  k_cycle_get_32() + feed_reservation.min_interarrival) != 0) {
		return;
	}
	for (;;) {
		k_deadline_event_wait(&owo_feed_event);
		owo_feed_start_max_cyc = MAX(owo_feed_start_max_cyc,
					     k_cycle_get_32() - owo_feed_event.release);
		(void)owo_feed_pass();
	}
}

K_THREAD_DEFINE(owo_feed_thread, FEED_STACK_SIZE, feed_job, NULL, NULL, NULL, FEED_PRIORITY, 0,
		0);
```

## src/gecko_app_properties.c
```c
/*
 * SPDX-License-Identifier: Apache-2.0
 *
 * Image descriptor for the Silicon Labs Gecko Bootloader in front of the app (0x16000).
 *
 * The bootloader reads a pointer to this descriptor from vector-table slot 13 of the app.
 * Without one, the suit's bootloader keeps AppLoader running instead of starting the app
 * (docs/ota.md). The layout and every value below match the descriptor the stock app
 * carries (read from the unit, 2026-10-31): structure version 1.1, no signature, type
 * Bluetooth app, version 1. Only the product ID differs, so stock and open images can be
 * told apart.
 */

#include <stddef.h>
#include <stdint.h>

#include <zephyr/toolchain.h>

/* Identifies the descriptor; the bootloader rejects anything else. */
#define GECKO_APP_PROPERTIES_MAGIC                                                         \
	{0x13U, 0xb7U, 0x79U, 0xfaU, 0xc9U, 0x25U, 0xddU, 0xb7U,                           \
	 0xadU, 0xf3U, 0xcfU, 0xe0U, 0xf1U, 0xb6U, 0x14U, 0xb8U}
/* Structure version 1.1: the layout that ends with the certificate pointer. */
#define GECKO_APP_PROPERTIES_STRUCT_VERSION 0x00000101U
#define GECKO_APP_SIGNATURE_NONE            0U
#define GECKO_APP_TYPE_BLUETOOTH_APP        0x00000020U

struct gecko_app_data {
	uint32_t type;
	uint32_t version;
	uint32_t capabilities;
	uint8_t product_id[16];
};

struct gecko_app_properties {
	uint8_t magic[16];
	uint32_t struct_version;
	uint32_t signature_type;
	uint32_t signature_location;
	struct gecko_app_data app;
	const void *certificate;
};

/*
 * Named for the vector slot it fills (arch/arm/core/cortex_m/vector_table.S), so the
 * linker resolves the slot to this descriptor's address.
 */
__used const struct gecko_app_properties z_arm_vector_reserved_13 = {
	.magic = GECKO_APP_PROPERTIES_MAGIC,
	.struct_version = GECKO_APP_PROPERTIES_STRUCT_VERSION,
	.signature_type = GECKO_APP_SIGNATURE_NONE,
	.signature_location = 0U,
	.app = {
		.type = GECKO_APP_TYPE_BLUETOOTH_APP,
		/*
		 * Same as stock: whether this bootloader refuses lower versions is not
		 * known, so neither direction (stock <-> open) may depend on it.
		 */
		.version = CONFIG_OWO_GECKO_APP_VERSION,
		.capabilities = 0U,
		/* owo-open-fw: 217c860a-3c51-4aaa-bdf4-a465bfce3eb9 */
		.product_id = {0x21U, 0x7cU, 0x86U, 0x0aU, 0x3cU, 0x51U, 0x4aU, 0xaaU,
			       0xbdU, 0xf4U, 0xa4U, 0x65U, 0xbfU, 0xceU, 0x3eU, 0xb9U},
	},
	.certificate = NULL,
};
```

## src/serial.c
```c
/*
 * The unit's serial number from its manufacturing record (devicetree compatible
 * "owo,serial-record": on the suit, twelve ASCII digits at USERDATA + 0x1C, docs/suit-board.md).
 * Read only; nothing in the firmware writes the record's page.
 *
 * SPDX-License-Identifier: Apache-2.0
 */
#include <errno.h>
#include <stdint.h>
#include <zephyr/devicetree.h>
#include <zephyr/sys/util.h>

#define OWO_SERIAL_LEN 12

#define RECORD_NODE DT_COMPAT_GET_ANY_STATUS_OKAY(owo_serial_record)

/*
 * Copies the record's twelve digits to out. Returns 0, -ENOENT when the board describes no record,
 * or -EINVAL when the record does not hold twelve ASCII digits (an erased page reads 0xFF).
 */
int owo_serial_read(uint8_t out[OWO_SERIAL_LEN])
{
#if DT_NODE_EXISTS(RECORD_NODE)
	BUILD_ASSERT(DT_REG_SIZE(RECORD_NODE) == OWO_SERIAL_LEN,
		     "owo,serial-record: the serial is twelve digits");
	const volatile uint8_t *record = (const volatile uint8_t *)DT_REG_ADDR(RECORD_NODE);

	for (size_t i = 0; i < OWO_SERIAL_LEN; i++) {
		uint8_t c = record[i];

		if (c < '0' || c > '9') {
			return -EINVAL;
		}
		out[i] = c;
	}
	return 0;
#else
	ARG_UNUSED(out);
	return -ENOENT;
#endif
}
```

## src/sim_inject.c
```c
/*
 * TEST ONLY (CONFIG_OWO_SIM_INJECT): drain the simulation mailbox every millisecond on the
 * system work queue. The mailbox and its dispatch are in src/sim_inject.rs.
 */
#include <zephyr/init.h>
#include <zephyr/kernel.h>

#define OWO_SIM_POLL_MS 1

extern void owo_sim_poll(void);

static void owo_sim_work_fn(struct k_work *work);
static K_WORK_DELAYABLE_DEFINE(owo_sim_work, owo_sim_work_fn);

static void owo_sim_work_fn(struct k_work *work)
{
	ARG_UNUSED(work);
	owo_sim_poll();
	(void)k_work_schedule(&owo_sim_work, K_MSEC(OWO_SIM_POLL_MS));
}

static int owo_sim_init(void)
{
	(void)k_work_schedule(&owo_sim_work, K_MSEC(OWO_SIM_POLL_MS));
	return 0;
}

SYS_INIT(owo_sim_init, APPLICATION, 99);
```

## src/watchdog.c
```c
/*
 * The product's hardware watchdog: WDOG0, configured once at boot, never reconfigured, locked
 * (docs/watchdog.md). Raw register access through the CMSIS device header; Zephyr's
 * watchdog driver is not used (it cannot select the warning, the energy-mode bits or the lock).
 *
 *  - Period: CONFIG_OWO_WATCHDOG_PERSEL, (2^(PERSEL + 3) + 1) cycles of the devicetree's
 *    WDOG0 clock (RM SS27.3.1). The clock is the LFRCO on the suit and the LFXO on the kit,
 *    both 32768 Hz.
 *  - Warning at CONFIG_OWO_WATCHDOG_WARNSEL quarters of the period (RM SS27.3.4): a
 *    zero-latency interrupt that puts the output stage in its safe state with raw register
 *    writes (owo_suit_force_safe_from_isr) and then waits for the reset.
 *  - Runs in EM2 and EM3 (EM2RUN, EM3RUN; RM SS27.3.3), and while the core is halted by a
 *    debugger unless CONFIG_OWO_WATCHDOG_FREEZE_IN_DEBUG (DEBUGRUN; RM SS27.3.2).
 *  - WDOG0_LOCK and CMU_WDOGLOCK are written after the configuration: EN, CFG and the clock
 *    selection are then read-only for any write but the unlock key (RM SS27.5.8, SS8.5.4).
 *
 * SPDX-License-Identifier: Apache-2.0
 */
#include <errno.h>
#include <zephyr/devicetree.h>
#include <zephyr/drivers/clock_control.h>
#include <zephyr/drivers/clock_control/clock_control_silabs.h>
#include <zephyr/init.h>
#include <zephyr/irq.h>
#include <zephyr/kernel.h>
#include <zephyr/sys/util.h>
#include <em_device.h>

#define WDOG_NODE DT_NODELABEL(wdog0)
#define WDOG_CLK_NODE DT_NODELABEL(wdog0clk)

static WDOG_TypeDef *const wdog = (WDOG_TypeDef *)DT_REG_ADDR(WDOG_NODE);
static const struct silabs_clock_control_cmu_config wdog_clock = SILABS_DT_CLOCK_CFG(WDOG_NODE);

/* RM SS27.3.1: TTIMEOUT = [2^(PERSEL + 3) + 1] / f; SS27.3.4: TWARNING = TTIMEOUT x WARNSEL / 4. */
#define WDOG_PERSEL_BIAS 3
#define WDOG_WARN_QUARTERS 4
#define WDOG_PERIOD_CYCLES ((1ULL << (CONFIG_OWO_WATCHDOG_PERSEL + WDOG_PERSEL_BIAS)) + 1)
/* The WDOG0 clock branch is a fixed-factor clock of its source oscillator (xg22.dtsi). */
#define WDOG_HZ DT_PROP(DT_CLOCKS_CTLR(WDOG_CLK_NODE), clock_frequency)
#define USEC_PER_SEC_ULL 1000000ULL

BUILD_ASSERT(DT_NODE_HAS_STATUS_OKAY(WDOG_NODE), "the product needs wdog0");
BUILD_ASSERT(DT_IRQN(WDOG_NODE) == WDOG0_IRQn, "devicetree and CMSIS disagree on WDOG0's IRQ");

extern void owo_suit_force_safe_from_isr(void);

/* Microseconds from a clear to the warning (rounded down) and to the reset (rounded up). */
uint32_t owo_wdt_warning_us(void)
{
	return (uint32_t)(WDOG_PERIOD_CYCLES * CONFIG_OWO_WATCHDOG_WARNSEL * USEC_PER_SEC_ULL /
			  (WDOG_WARN_QUARTERS * WDOG_HZ));
}

uint32_t owo_wdt_period_us(void)
{
	return (uint32_t)DIV_ROUND_UP(WDOG_PERIOD_CYCLES * USEC_PER_SEC_ULL, WDOG_HZ);
}

/*
 * Restart the count. CMD is an LFSYNC register (RM SS27.4): a write stays pending for a few
 * watchdog-clock cycles, and a second write while SYNCBUSY.CMD is set is a BusFault
 * (RM SS4.2.4.4.4). A pending clear restarts the count when it completes, so skipping this
 * one loses nothing. Returns 1 when skipped for that reason, 0 when written.
 */
int owo_wdt_feed(void)
{
	if (wdog->SYNCBUSY & WDOG_SYNCBUSY_CMD) {
		return 1;
	}
	wdog->CMD = WDOG_CMD_CLEAR;
	return 0;
}

/*
 * The warning: a feed is overdue by (WARNSEL/4 x period) - (longest legitimate feed interval).
 * Zero-latency, direct: it runs even inside irq_lock() sections (BASEPRI), never enters the
 * kernel, and never returns. The output stage goes to its safe state first; the reset that
 * follows within the rest of the period then re-runs the C reset safe-off and POST.
 */
ISR_DIRECT_DECLARE(owo_wdt_warning_isr)
{
	owo_suit_force_safe_from_isr();
	for (;;) {
		/* Wait for the watchdog reset. Nothing below this priority may run again. */
	}
	return 0;
}

static int owo_wdt_init(void)
{
	const struct device *cmu = DEVICE_DT_GET(DT_CLOCKS_CTLR(WDOG_NODE));
	CMU_TypeDef *const cmu_regs = (CMU_TypeDef *)DT_REG_ADDR(DT_CLOCKS_CTLR(WDOG_NODE));
	uint32_t rate = 0;
	int err;

	err = clock_control_on(cmu, (clock_control_subsys_t)&wdog_clock);
	if (err < 0 && err != -EALREADY) {
		return err;
	}
	if (clock_control_get_rate(cmu, (clock_control_subsys_t)&wdog_clock, &rate) < 0 ||
	    rate != WDOG_HZ) {
		/* The period would not be what the measurements chose: do not run unsupervised. */
		k_panic();
	}
	/* After any reset WDOG0 is disabled and unlocked (EMU_RSTCTRL: "the entire device is reset"). */
	wdog->CFG = (CONFIG_OWO_WATCHDOG_PERSEL << _WDOG_CFG_PERSEL_SHIFT) |
		    (CONFIG_OWO_WATCHDOG_WARNSEL << _WDOG_CFG_WARNSEL_SHIFT) | WDOG_CFG_EM2RUN |
		    WDOG_CFG_EM3RUN |
		    (IS_ENABLED(CONFIG_OWO_WATCHDOG_FREEZE_IN_DEBUG) ? 0 : WDOG_CFG_DEBUGRUN);
	wdog->IF_CLR = _WDOG_IF_MASK;
	wdog->IEN = WDOG_IEN_WARN;
	IRQ_DIRECT_CONNECT(DT_IRQN(WDOG_NODE), 0, owo_wdt_warning_isr, IRQ_ZERO_LATENCY);
	irq_enable(DT_IRQN(WDOG_NODE));
	wdog->EN = WDOG_EN_EN;
	wdog->LOCK = WDOG_LOCK_LOCKKEY_LOCK;
	/* Any key but the unlock key locks the WDOG clock selection (RM SS8.5.4). */
	cmu_regs->WDOGLOCK = ~CMU_WDOGLOCK_LOCKKEY_UNLOCK & _CMU_WDOGLOCK_LOCKKEY_MASK;
	return 0;
}

/* After PRE_KERNEL_1, where the clock control driver selects the WDOG0 clock branch. */
SYS_INIT(owo_wdt_init, PRE_KERNEL_2, 0);
```
